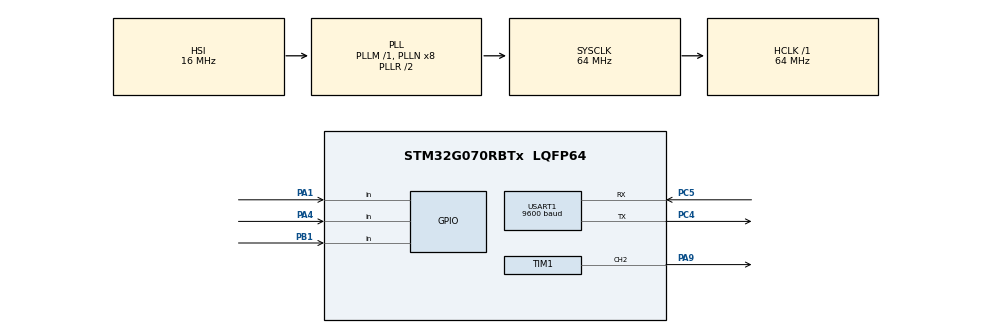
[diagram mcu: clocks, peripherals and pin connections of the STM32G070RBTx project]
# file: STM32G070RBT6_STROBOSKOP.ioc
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Mcu.Family=STM32G0
Mcu.Name=STM32G070RBTx
Mcu.Package=LQFP64
PA1.GPIO_PuPd=GPIO_PULLUP
PA1.Signal=GPIO_Input
PA4.GPIO_PuPd=GPIO_PULLUP
PA4.Signal=GPIO_Input
PA9.Signal=S_TIM1_CH2
PB1.GPIO_PuPd=GPIO_PULLUP
PB1.Signal=GPIO_Input
PC4.Mode=Asynchronous
PC4.Signal=USART1_TX
PC5.Mode=Asynchronous
PC5.Signal=USART1_RX
ProjectManager.HeapSize=0x200
ProjectManager.StackSize=0x400
ProjectManager.TargetToolchain=STM32CubeIDE
RCC.ADCFreq_Value=64000000
RCC.AHBFreq_Value=64000000
RCC.CortexFreq_Value=64000000
RCC.EXTERNAL_CLOCK_VALUE=48000
RCC.HCLKFreq_Value=64000000
RCC.HSE_VALUE=8000000
RCC.HSI_VALUE=16000000
RCC.LSE_VALUE=32768
RCC.SYSCLKFreq_VALUE=64000000
RCC.SYSCLKSource=RCC_SYSCLKSOURCE_PLLCLK
RCC.VCOOutputFreq_Value=128000000
SH.S_TIM1_CH2.0=TIM1_CH2,PWM Generation2 CH2
TIM1.Channel-PWM\ Generation2\ CH2=TIM_CHANNEL_2
TIM1.Period=1000-1
TIM1.Prescaler=64000-1
USART1.BaudRate=9600
USART1.VirtualMode-Asynchronous=VM_ASYNC
VP_TIM1_VS_ClockSourceINT.Mode=Internal
board=custom

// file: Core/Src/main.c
/* USER CODE BEGIN Header */
/**
  ******************************************************************************
  * @file           : main.c
  * @brief          : Main program body
  ******************************************************************************
  * @attention
  *
  * Copyright (c) 2024 STMicroelectronics.
  * All rights reserved.
  *
  * This software is licensed under terms that can be found in the LICENSE file
  * in the root directory of this software component.
  * If no LICENSE file comes with this software, it is provided AS-IS.
  *
  ******************************************************************************
  */
/* USER CODE END Header */
#include "main.h"

/* USER CODE BEGIN Includes */
#include <string.h>
#include <stdio.h>

/* USER CODE END Includes */

TIM_HandleTypeDef htim1;

UART_HandleTypeDef huart1;

void SystemClock_Config(void);
static void MX_GPIO_Init(void);
static void MX_TIM1_Init(void);
static void MX_USART1_UART_Init(void);
/* USER CODE BEGIN PFP */
void Set_PWM_Frekans(float frekans);
void UART_Receive_IT(void);
void UART_Send_(char *message);
void UART_Send_Frequency(const char *prefix, float frekans);
/* USER CODE END PFP */

/* USER CODE BEGIN 0 */
int frekans=1.0f;
uint32_t period=1;
uint32_t butonState;
uint32_t butonState2;
uint32_t butonReset;
uint8_t rxData[1];
uint8_t txData[100];

/* USER CODE END 0 */

int main(void)
{

  /* MCU Configuration--------------------------------------------------------*/

  /* Reset of all peripherals, Initializes the Flash interface and the Systick. */
  HAL_Init();

  /* Configure the system clock */
  SystemClock_Config();

  /* Initialize all configured peripherals */
  MX_GPIO_Init();
  MX_TIM1_Init();
  MX_USART1_UART_Init();
  /* USER CODE BEGIN 2 */
  //uint16_t duty_cycle=0;

  HAL_TIM_PWM_Start(&htim1, TIM_CHANNEL_2);
  Set_PWM_Frekans(frekans);

  UART_Receive_IT();
  /* USER CODE END 2 */

  /* Infinite loop */
  while (1)
  {

    /* USER CODE BEGIN 3 */

	  butonState2=HAL_GPIO_ReadPin(GPIOA, GPIO_PIN_4);
	  butonState=HAL_GPIO_ReadPin(GPIOA, GPIO_PIN_1);
	  butonReset=HAL_GPIO_ReadPin(GPIOB, GPIO_PIN_1);
	    if(butonState==0)
	    {
	    	HAL_Delay(50);
	    	if(butonState==0)
	    	{
	    		/*period-=Period_azaltma;
	    		frekans=1000/period;
	    		frekans=(frekans*10)+2;
	    		UART_Send_Period("Frekans:\r",frekans);
	    		Set_PWM_Period(period);*/
	    		float period=1;
	    		frekans+=1.0f;
	    		period=1/frekans;

	    		UART_Send_Frequency("Frekans:\r", frekans);
	    		Set_PWM_Frekans(frekans);
	    	}
	    	HAL_Delay(100);
	    }

	    if(butonState2==0)
	    {
	    	HAL_Delay(50);
	    	if(butonState2==0)
	    	{
	    		/*period+=Period_azaltma;
	    		if(period>Max_Period)
	    		{
	    			period=Max_Period;

	    		}
	    		frekans=1000.0f/period;
	    		frekans=frekans*10;
	    		UART_Send_Period("Frekans:\r",frekans);
	    		Set_PWM_Period(period);*/
	    		if(frekans>1.0f)
	    		{
	    			frekans-=1.0f;
	    	        UART_Send_Frequency("Frekans:\r", frekans);
	    	        Set_PWM_Frekans(frekans);
	    		}

	    	}
	    	HAL_Delay(100);

	    }
	    else if (butonReset == 0)
	    {
	        HAL_Delay(50); // Debouncing
	        if (HAL_GPIO_ReadPin(GPIOB, GPIO_PIN_1) == 0)
	        {
	        	NVIC_SystemReset();
	        }
	        UART_Send("Resetlendi\n\r");
	        HAL_Delay(100); // Ekstra gecikme
	    }

  }
  /* USER CODE END 3 */
}

void SystemClock_Config(void)
{
  RCC_OscInitTypeDef RCC_OscInitStruct = {0};
  RCC_ClkInitTypeDef RCC_ClkInitStruct = {0};

  /** Configure the main internal regulator output voltage
  */
  HAL_PWREx_ControlVoltageScaling(PWR_REGULATOR_VOLTAGE_SCALE1);

  /** Initializes the RCC Oscillators according to the specified parameters
  * in the RCC_OscInitTypeDef structure.
  */
  RCC_OscInitStruct.OscillatorType = RCC_OSCILLATORTYPE_HSI;
  RCC_OscInitStruct.HSIState = RCC_HSI_ON;
  RCC_OscInitStruct.HSIDiv = RCC_HSI_DIV1;
  RCC_OscInitStruct.HSICalibrationValue = RCC_HSICALIBRATION_DEFAULT;
  RCC_OscInitStruct.PLL.PLLState = RCC_PLL_ON;
  RCC_OscInitStruct.PLL.PLLSource = RCC_PLLSOURCE_HSI;
  RCC_OscInitStruct.PLL.PLLM = RCC_PLLM_DIV1;
  RCC_OscInitStruct.PLL.PLLN = 8;
  RCC_OscInitStruct.PLL.PLLP = RCC_PLLP_DIV2;
  RCC_OscInitStruct.PLL.PLLR = RCC_PLLR_DIV2;
  if (HAL_RCC_OscConfig(&RCC_OscInitStruct) != HAL_OK)
  {
    Error_Handler();
  }

  /** Initializes the CPU, AHB and APB buses clocks
  */
  RCC_ClkInitStruct.ClockType = RCC_CLOCKTYPE_HCLK|RCC_CLOCKTYPE_SYSCLK
                              |RCC_CLOCKTYPE_PCLK1;
  RCC_ClkInitStruct.SYSCLKSource = RCC_SYSCLKSOURCE_PLLCLK;
  RCC_ClkInitStruct.AHBCLKDivider = RCC_SYSCLK_DIV1;
  RCC_ClkInitStruct.APB1CLKDivider = RCC_HCLK_DIV1;

  if (HAL_RCC_ClockConfig(&RCC_ClkInitStruct, FLASH_LATENCY_2) != HAL_OK)
  {
    Error_Handler();
  }
}

static void MX_TIM1_Init(void)
{

  TIM_ClockConfigTypeDef sClockSourceConfig = {0};
  TIM_MasterConfigTypeDef sMasterConfig = {0};
  TIM_OC_InitTypeDef sConfigOC = {0};
  TIM_BreakDeadTimeConfigTypeDef sBreakDeadTimeConfig = {0};

  htim1.Instance = TIM1;
  htim1.Init.Prescaler = 64000-1;
  htim1.Init.CounterMode = TIM_COUNTERMODE_UP;
  htim1.Init.Period = 1000-1;
  htim1.Init.ClockDivision = TIM_CLOCKDIVISION_DIV1;
  htim1.Init.RepetitionCounter = 0;
  htim1.Init.AutoReloadPreload = TIM_AUTORELOAD_PRELOAD_DISABLE;
  if (HAL_TIM_Base_Init(&htim1) != HAL_OK)
  {
    Error_Handler();
  }
  sClockSourceConfig.ClockSource = TIM_CLOCKSOURCE_INTERNAL;
  if (HAL_TIM_ConfigClockSource(&htim1, &sClockSourceConfig) != HAL_OK)
  {
    Error_Handler();
  }
  if (HAL_TIM_PWM_Init(&htim1) != HAL_OK)
  {
    Error_Handler();
  }
  sMasterConfig.MasterOutputTrigger = TIM_TRGO_RESET;
  sMasterConfig.MasterOutputTrigger2 = TIM_TRGO2_RESET;
  sMasterConfig.MasterSlaveMode = TIM_MASTERSLAVEMODE_DISABLE;
  if (HAL_TIMEx_MasterConfigSynchronization(&htim1, &sMasterConfig) != HAL_OK)
  {
    Error_Handler();
  }
  sConfigOC.OCMode = TIM_OCMODE_PWM1;
  sConfigOC.Pulse = 500;
  sConfigOC.OCPolarity = TIM_OCPOLARITY_HIGH;
  sConfigOC.OCNPolarity = TIM_OCNPOLARITY_HIGH;
  sConfigOC.OCFastMode = TIM_OCFAST_DISABLE;
  sConfigOC.OCIdleState = TIM_OCIDLESTATE_RESET;
  sConfigOC.OCNIdleState = TIM_OCNIDLESTATE_RESET;
  if (HAL_TIM_PWM_ConfigChannel(&htim1, &sConfigOC, TIM_CHANNEL_2) != HAL_OK)
  {
    Error_Handler();
  }
  sBreakDeadTimeConfig.OffStateRunMode = TIM_OSSR_DISABLE;
  sBreakDeadTimeConfig.OffStateIDLEMode = TIM_OSSI_DISABLE;
  sBreakDeadTimeConfig.LockLevel = TIM_LOCKLEVEL_OFF;
  sBreakDeadTimeConfig.DeadTime = 0;
  sBreakDeadTimeConfig.BreakState = TIM_BREAK_DISABLE;
  sBreakDeadTimeConfig.BreakPolarity = TIM_BREAKPOLARITY_HIGH;
  sBreakDeadTimeConfig.BreakFilter = 0;
  sBreakDeadTimeConfig.BreakAFMode = TIM_BREAK_AFMODE_INPUT;
  sBreakDeadTimeConfig.Break2State = TIM_BREAK2_DISABLE;
  sBreakDeadTimeConfig.Break2Polarity = TIM_BREAK2POLARITY_HIGH;
  sBreakDeadTimeConfig.Break2Filter = 0;
  sBreakDeadTimeConfig.Break2AFMode = TIM_BREAK_AFMODE_INPUT;
  sBreakDeadTimeConfig.AutomaticOutput = TIM_AUTOMATICOUTPUT_DISABLE;
  if (HAL_TIMEx_ConfigBreakDeadTime(&htim1, &sBreakDeadTimeConfig) != HAL_OK)
  {
    Error_Handler();
  }
  /* USER CODE BEGIN TIM1_Init 2 */
  HAL_TIM_Base_Start(&htim1);
  HAL_TIM_PWM_Start(&htim1, TIM_CHANNEL_2);
  //Set_PWM_Period(period);
  //__HAL_TIM_SET_COMPARE(&htim1, TIM_CHANNEL_2,500);
  /* USER CODE END TIM1_Init 2 */
  HAL_TIM_MspPostInit(&htim1);

}

static void MX_USART1_UART_Init(void)
{

  huart1.Instance = USART1;
  huart1.Init.BaudRate = 9600;
  huart1.Init.WordLength = UART_WORDLENGTH_8B;
  huart1.Init.StopBits = UART_STOPBITS_1;
  huart1.Init.Parity = UART_PARITY_NONE;
  huart1.Init.Mode = UART_MODE_TX_RX;
  huart1.Init.HwFlowCtl = UART_HWCONTROL_NONE;
  huart1.Init.OverSampling = UART_OVERSAMPLING_16;
  huart1.Init.OneBitSampling = UART_ONE_BIT_SAMPLE_DISABLE;
  huart1.Init.ClockPrescaler = UART_PRESCALER_DIV1;
  huart1.AdvancedInit.AdvFeatureInit = UART_ADVFEATURE_NO_INIT;
  if (HAL_UART_Init(&huart1) != HAL_OK)
  {
    Error_Handler();
  }
  if (HAL_UARTEx_SetTxFifoThreshold(&huart1, UART_TXFIFO_THRESHOLD_1_8) != HAL_OK)
  {
    Error_Handler();
  }
  if (HAL_UARTEx_SetRxFifoThreshold(&huart1, UART_RXFIFO_THRESHOLD_1_8) != HAL_OK)
  {
    Error_Handler();
  }
  if (HAL_UARTEx_DisableFifoMode(&huart1) != HAL_OK)
  {
    Error_Handler();
  }

}

static void MX_GPIO_Init(void)
{
  GPIO_InitTypeDef GPIO_InitStruct = {0};

  /* GPIO Ports Clock Enable */
  __HAL_RCC_GPIOA_CLK_ENABLE();
  __HAL_RCC_GPIOC_CLK_ENABLE();
  __HAL_RCC_GPIOB_CLK_ENABLE();

  /*Configure GPIO pins : PA1 PA4 */
  GPIO_InitStruct.Pin = GPIO_PIN_1|GPIO_PIN_4;
  GPIO_InitStruct.Mode = GPIO_MODE_INPUT;
  GPIO_InitStruct.Pull = GPIO_PULLUP;
  HAL_GPIO_Init(GPIOA, &GPIO_InitStruct);

  /*Configure GPIO pin : PB1 */
  GPIO_InitStruct.Pin = GPIO_PIN_1;
  GPIO_InitStruct.Mode = GPIO_MODE_INPUT;
  GPIO_InitStruct.Pull = GPIO_PULLUP;
  HAL_GPIO_Init(GPIOB, &GPIO_InitStruct);

}

/* USER CODE BEGIN 4 */
/*void Set_PWM_Period(uint32_t new_period)
{
    if(new_period < 0)
    {
        TIM1->ARR = new_period - 1;
        TIM1->CCR2 = (new_period/2) < TIM1->ARR ? (new_period /2) : TIM1->ARR;
        period = new_period;
    }
    if(new_period >= Min_Period && new_period <= Max_Period)
    {
        TIM1->ARR = new_period - 1;
        TIM1->CCR2 = new_period / 2;
        period = new_period;
    }

	  __HAL_TIM_SET_AUTORELOAD(&htim1, new_period);
	  __HAL_TIM_SET_COMPARE(&htim1, TIM_CHANNEL_2, new_period / 2);
}*/
void Set_PWM_Frekans(float frekans)
{
    // Calculate the new period based on the frequency
    if(frekans > 0)
    {
        uint32_t new_period = (uint32_t)(64000000 / (frekans * (htim1.Init.Prescaler + 1))) - 1;
        __HAL_TIM_SET_AUTORELOAD(&htim1, new_period);
        __HAL_TIM_SET_COMPARE(&htim1, TIM_CHANNEL_2, new_period /2);

    }
}
void UART_Receive_IT(void)
{
  HAL_UART_Receive_IT(&huart1, rxData, 1);

}
void UART_Send(char *message)
{
  HAL_UART_Transmit(&huart1, (uint8_t*)message, strlen(message), HAL_MAX_DELAY);
}

// UART Receive Complete Callback function
void UART_Send_Frequency(const char *prefix, float freakans)
{
	  char message[100];
	  snprintf(message, sizeof(message), "%s%.2f Hz\r\n", prefix, frekans);
	  UART_Send(message);
}

/* USER CODE END 4 */

void Error_Handler(void)
{
  __disable_irq();
  while (1)
  {
  }
}
